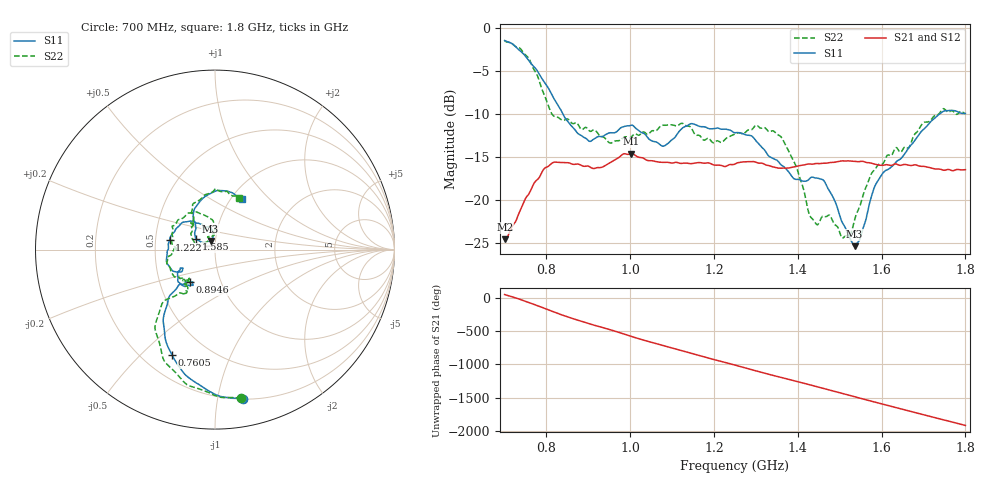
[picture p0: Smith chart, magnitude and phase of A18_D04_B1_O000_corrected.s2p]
! Created with skrf 1.9.0 (http://scikit-rf.org).
# Hz S RI R 50.0
!freq ReS11 ImS11 ReS21 ImS21 ReS12 ImS12 ReS22 ImS22
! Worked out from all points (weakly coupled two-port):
!   1601 points, 700 MHz to 1.8 GHz, reference 50 ohm
!   highest |S21| = -14.59 dB at 1.002 GHz (marker M1); lowest = -24.6 dB at 700.7 MHz (marker M2)
!   lowest |S11| = -25.4 dB at 1.535 GHz (marker M3), VSWR 1.11, Z = 47.4 + j4.57 ohm
!   |S11| at or under -10 dB: 839.2 MHz to 1.738 GHz (899 MHz wide, 69.8 % of centre)
!   |S22| runs from -24.4 to -1.5 dB; largest |S21 - S12| = 0.0035
!   S11 on the Smith chart (normalised r, x): 700 MHz: 0.20, -1.19; 760.5 MHz: 0.32, -0.62; 894.6 MHz: 0.71, -0.27; 1.222 GHz: 0.59, +0.07; 1.585 GHz: 0.80, +0.10; 1.8 GHz: 1.12, +0.70
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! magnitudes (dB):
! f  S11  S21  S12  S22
! 700 MHz  -1.4  -24.6  -24.3  -1.5
! 700.7 MHz  -1.5  -24.6  -24.3  -1.5
! 760.5 MHz  -4.0  -19.1  -18.9  -3.8
! 814.1 MHz  -7.9  -15.7  -15.7  -10.1
! 883.6 MHz  -12.5  -16.0  -15.9  -11.8
! 894.6 MHz  -12.8  -16.0  -16.1  -11.5
! 952.3 MHz  -12.2  -15.6  -15.6  -13.4
! 1.002 GHz  -11.3  -14.6  -14.7  -12.7
! 1.067 GHz  -13.4  -15.6  -15.5  -11.7
! 1.145 GHz  -11.1  -15.8  -15.8  -11.6
! 1.222 GHz  -11.7  -16.1  -16.1  -13.2
! 1.25 GHz  -12.2  -15.8  -15.7  -12.3
! 1.359 GHz  -15.9  -16.3  -16.3  -12.6
! 1.396 GHz  -17.6  -16.1  -16.1  -16.1
! 1.434 GHz  -17.3  -15.8  -15.8  -22.1
! 1.464 GHz  -17.9  -15.7  -15.7  -21.9
! 1.508 GHz  -22.8  -15.4  -15.4  -24.4
! 1.535 GHz  -25.4  -15.5  -15.5  -22.3
! 1.585 GHz  -18.3  -15.8  -15.8  -16.4
! 1.617 GHz  -16.4  -15.9  -15.9  -14.7
! 1.742 GHz  -9.8  -16.4  -16.4  -9.6
! 1.8 GHz  -9.9  -16.5  -16.4  -10.0
